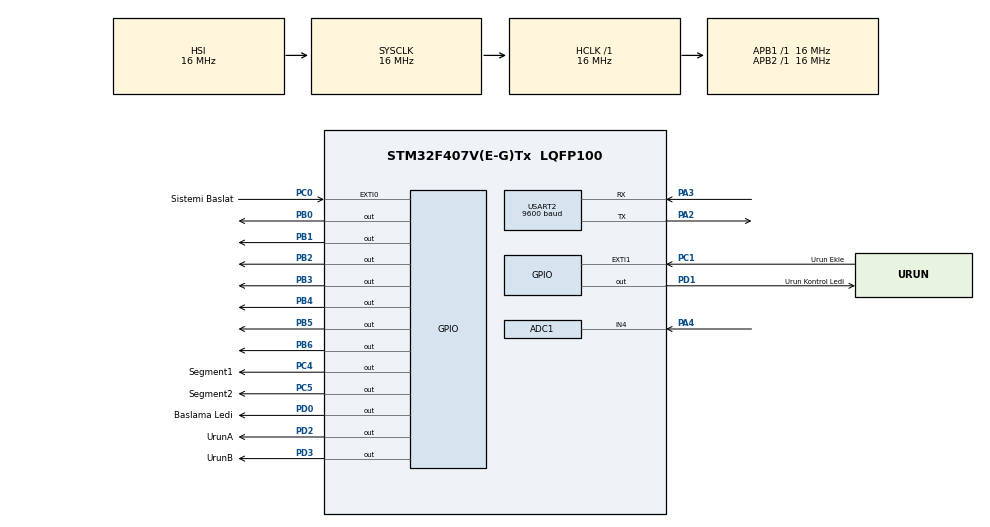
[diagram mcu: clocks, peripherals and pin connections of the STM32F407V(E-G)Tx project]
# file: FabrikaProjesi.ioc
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ADC1.Channel-0\#ChannelRegularConversion=ADC_CHANNEL_4
ADC1.NbrOfConversionFlag=1
ADC1.Rank-0\#ChannelRegularConversion=1
ADC1.Resolution=ADC_RESOLUTION_6B
ADC1.SamplingTime-0\#ChannelRegularConversion=ADC_SAMPLETIME_144CYCLES
ADC1.master=1
Mcu.Family=STM32F4
Mcu.Name=STM32F407V(E-G)Tx
Mcu.Package=LQFP100
NVIC.ADC_IRQn=true\:0\:0\:false\:false\:true\:true
NVIC.EXTI0_IRQn=true\:0\:0\:false\:false\:true\:true
NVIC.EXTI1_IRQn=true\:0\:0\:false\:false\:true\:true
NVIC.PriorityGroup=NVIC_PRIORITYGROUP_4
NVIC.TIM2_IRQn=true\:0\:0\:false\:false\:true\:true
NVIC.TIM3_IRQn=true\:0\:0\:false\:false\:true\:true
NVIC.USART2_IRQn=true\:0\:0\:false\:false\:true\:true
PA2.Mode=Asynchronous
PA2.Signal=USART2_TX
PA3.Mode=Asynchronous
PA3.Signal=USART2_RX
PA4.Signal=ADCx_IN4
PB0.Signal=GPIO_Output
PB1.Signal=GPIO_Output
PB2.Signal=GPIO_Output
PB3.Signal=GPIO_Output
PB4.Signal=GPIO_Output
PB5.Signal=GPIO_Output
PB6.Signal=GPIO_Output
PC0.GPIO_Label=Sistemi Baslat
PC0.GPIO_ModeDefaultEXTI=GPIO_MODE_IT_RISING_FALLING
PC0.Signal=GPXTI0
PC1.GPIO_Label=Urun Ekle
PC1.GPIO_ModeDefaultEXTI=GPIO_MODE_IT_RISING_FALLING
PC1.Signal=GPXTI1
PC4.GPIO_Label=Segment1
PC4.Signal=GPIO_Output
PC5.GPIO_Label=Segment2
PC5.Signal=GPIO_Output
PD0.GPIO_Label=Baslama Ledi
PD0.Signal=GPIO_Output
PD1.GPIO_Label=Urun Kontrol Ledi
PD1.Signal=GPIO_Output
PD2.GPIO_Label=UrunA
PD2.Signal=GPIO_Output
PD3.GPIO_Label=UrunB
PD3.Signal=GPIO_Output
ProjectManager.HeapSize=0x200
ProjectManager.StackSize=0x400
ProjectManager.TargetToolchain=MDK-ARM V5
RCC.AHBFreq_Value=16000000
RCC.APB1Freq_Value=16000000
RCC.APB2Freq_Value=16000000
RCC.CortexFreq_Value=16000000
RCC.HSE_VALUE=25000000
RCC.HSI_VALUE=16000000
RCC.LSE_VALUE=32768
RCC.SYSCLKFreq_VALUE=16000000
RCC.VCOOutputFreq_Value=192000000
SH.ADCx_IN4.0=ADC1_IN4,IN4
TIM2.Period=4999
TIM2.Prescaler=7999
TIM3.Period=499
TIM3.Prescaler=7999
USART2.BaudRate=9600
USART2.VirtualMode=VM_ASYNC
VP_TIM2_VS_ClockSourceINT.Mode=Internal
VP_TIM3_VS_ClockSourceINT.Mode=Internal
board=custom

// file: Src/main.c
/* USER CODE BEGIN Header */
/**
  ******************************************************************************
  * @file           : main.c
  * @brief          : Main program body
  ******************************************************************************
  ** This notice applies to any and all portions of this file
  * that are not between comment pairs USER CODE BEGIN and
  * USER CODE END. Other portions of this file, whether
  * inserted by the user or by software development tools
  * are owned by their respective copyright owners.
  *
  * COPYRIGHT(c) 2020 STMicroelectronics
  *
  * Redistribution and use in source and binary forms, with or without modification,
  * are permitted provided that the following conditions are met:
  *   1. Redistributions of source code must retain the above copyright notice,
  *      this list of conditions and the following disclaimer.
  *   2. Redistributions in binary form must reproduce the above copyright notice,
  *      this list of conditions and the following disclaimer in the documentation
  *      and/or other materials provided with the distribution.
  *   3. Neither the name of STMicroelectronics nor the names of its contributors
  *      may be used to endorse or promote products derived from this software
  *      without specific prior written permission.
  *
  * THIS SOFTWARE IS PROVIDED BY THE COPYRIGHT HOLDERS AND CONTRIBUTORS "AS IS"
  * AND ANY EXPRESS OR IMPLIED WARRANTIES, INCLUDING, BUT NOT LIMITED TO, THE
  * IMPLIED WARRANTIES OF MERCHANTABILITY AND FITNESS FOR A PARTICULAR PURPOSE ARE
  * DISCLAIMED. IN NO EVENT SHALL THE COPYRIGHT HOLDER OR CONTRIBUTORS BE LIABLE
  * FOR ANY DIRECT, INDIRECT, INCIDENTAL, SPECIAL, EXEMPLARY, OR CONSEQUENTIAL
  * DAMAGES (INCLUDING, BUT NOT LIMITED TO, PROCUREMENT OF SUBSTITUTE GOODS OR
  * SERVICES; LOSS OF USE, DATA, OR PROFITS; OR BUSINESS INTERRUPTION) HOWEVER
  * CAUSED AND ON ANY THEORY OF LIABILITY, WHETHER IN CONTRACT, STRICT LIABILITY,
  * OR TORT (INCLUDING NEGLIGENCE OR OTHERWISE) ARISING IN ANY WAY OUT OF THE USE
  * OF THIS SOFTWARE, EVEN IF ADVISED OF THE POSSIBILITY OF SUCH DAMAGE.
  *
  ******************************************************************************
  */
/* USER CODE END Header */

#include "main.h"

/* USER CODE BEGIN PD */
uint16_t adcDegeri;
/* USER CODE END PD */

ADC_HandleTypeDef hadc1;

TIM_HandleTypeDef htim2;
TIM_HandleTypeDef htim3;

UART_HandleTypeDef huart2;

/* USER CODE BEGIN PV */

int onlar=0;
int birler=0;
int urun=0;
enum calismaKontrol{Kapali=0,Acik=1};
enum calismaKontrol calisiyorMu=Kapali;
enum asimKontrol{AsimYok=0,AsimVar=1};
enum asimKontrol asimVarMi=AsimYok;

/* USER CODE END PV */

void SystemClock_Config(void);
static void MX_GPIO_Init(void);
static void MX_USART2_UART_Init(void);
static void MX_ADC1_Init(void);
static void MX_TIM2_Init(void);
static void MX_TIM3_Init(void);

/* USER CODE BEGIN 0 */

void portb_yaz(int s){
	 switch(s){
		 case 0:
			 HAL_GPIO_WritePin(GPIOB,GPIO_PIN_0|GPIO_PIN_1|GPIO_PIN_2|GPIO_PIN_3|GPIO_PIN_4|GPIO_PIN_5,GPIO_PIN_SET);
			 HAL_GPIO_WritePin(GPIOB,GPIO_PIN_6,GPIO_PIN_RESET);
		 break;

		 case 1:
				HAL_GPIO_WritePin(GPIOB,GPIO_PIN_1|GPIO_PIN_2,GPIO_PIN_SET);
				HAL_GPIO_WritePin(GPIOB,GPIO_PIN_0|GPIO_PIN_3|GPIO_PIN_4|GPIO_PIN_5|GPIO_PIN_6,GPIO_PIN_RESET);
		 break;

		 case 2:
				HAL_GPIO_WritePin(GPIOB,GPIO_PIN_0|GPIO_PIN_1|GPIO_PIN_3|GPIO_PIN_4|GPIO_PIN_6,GPIO_PIN_SET);
				HAL_GPIO_WritePin(GPIOB,GPIO_PIN_5|GPIO_PIN_2,GPIO_PIN_RESET);
		 break;

		 case 3:
			 HAL_GPIO_WritePin(GPIOB,GPIO_PIN_0|GPIO_PIN_1|GPIO_PIN_2|GPIO_PIN_3|GPIO_PIN_6,GPIO_PIN_SET);
			 HAL_GPIO_WritePin(GPIOB,GPIO_PIN_4|GPIO_PIN_5,GPIO_PIN_RESET);
		 break;

		 case 4:
		   HAL_GPIO_WritePin(GPIOB,GPIO_PIN_1|GPIO_PIN_2|GPIO_PIN_5|GPIO_PIN_6,GPIO_PIN_SET);
			 HAL_GPIO_WritePin(GPIOB,GPIO_PIN_0|GPIO_PIN_3|GPIO_PIN_4,GPIO_PIN_RESET);
		 break;

		 case 5:
			 HAL_GPIO_WritePin(GPIOB,GPIO_PIN_0|GPIO_PIN_2|GPIO_PIN_3|GPIO_PIN_5|GPIO_PIN_6,GPIO_PIN_SET);
			 HAL_GPIO_WritePin(GPIOB,GPIO_PIN_1|GPIO_PIN_4,GPIO_PIN_RESET);
		 break;

		 case 6:
			 HAL_GPIO_WritePin(GPIOB,GPIO_PIN_0|GPIO_PIN_2|GPIO_PIN_3|GPIO_PIN_4|GPIO_PIN_5|GPIO_PIN_6,GPIO_PIN_SET);
			 HAL_GPIO_WritePin(GPIOB,GPIO_PIN_1,GPIO_PIN_RESET);
		 break;

		 case 7:
			 HAL_GPIO_WritePin(GPIOB,GPIO_PIN_0|GPIO_PIN_1|GPIO_PIN_2,GPIO_PIN_SET);
			 HAL_GPIO_WritePin(GPIOB,GPIO_PIN_3|GPIO_PIN_4|GPIO_PIN_5|GPIO_PIN_6,GPIO_PIN_RESET);
		 break;

		 case 8:
			 HAL_GPIO_WritePin(GPIOB,GPIO_PIN_0|GPIO_PIN_1|GPIO_PIN_2|GPIO_PIN_3|GPIO_PIN_4|GPIO_PIN_5|GPIO_PIN_6,GPIO_PIN_SET);
		 break;

		 case 9:
			 HAL_GPIO_WritePin(GPIOB,GPIO_PIN_0|GPIO_PIN_1|GPIO_PIN_2|GPIO_PIN_3|GPIO_PIN_5|GPIO_PIN_6,GPIO_PIN_SET);
			 HAL_GPIO_WritePin(GPIOB,GPIO_PIN_4,GPIO_PIN_RESET);
		 break;
		 default:
			HAL_GPIO_WritePin(GPIOB,GPIO_PIN_0|GPIO_PIN_1|GPIO_PIN_2|GPIO_PIN_3|GPIO_PIN_4|GPIO_PIN_5,GPIO_PIN_SET);
			 HAL_GPIO_WritePin(GPIOB,GPIO_PIN_6,GPIO_PIN_RESET);
		 break;
	 }
 }

/* USER CODE END 0 */

int main(void)
{

  /* MCU Configuration--------------------------------------------------------*/

  /* Reset of all peripherals, Initializes the Flash interface and the Systick. */
  HAL_Init();

  /* Configure the system clock */
  SystemClock_Config();

  /* Initialize all configured peripherals */
  MX_GPIO_Init();
  MX_USART2_UART_Init();
  MX_ADC1_Init();
  MX_TIM2_Init();
  MX_TIM3_Init();

  /* Infinite loop */
  /* USER CODE BEGIN WHILE */
  while (1)
  {

			if(calisiyorMu == Acik){
			HAL_GPIO_WritePin(GPIOC,GPIO_PIN_5,GPIO_PIN_RESET);
			HAL_GPIO_WritePin(GPIOC,GPIO_PIN_4,GPIO_PIN_RESET);
			portb_yaz(onlar);
			HAL_GPIO_WritePin(GPIOC,GPIO_PIN_5,GPIO_PIN_SET);
			HAL_GPIO_WritePin(GPIOC,GPIO_PIN_4,GPIO_PIN_RESET);
					HAL_Delay(75);
			HAL_GPIO_WritePin(GPIOC,GPIO_PIN_5,GPIO_PIN_RESET);
			HAL_GPIO_WritePin(GPIOC,GPIO_PIN_4,GPIO_PIN_RESET);
			portb_yaz(birler);
			HAL_GPIO_WritePin(GPIOC,GPIO_PIN_5,GPIO_PIN_RESET);
			HAL_GPIO_WritePin(GPIOC,GPIO_PIN_4,GPIO_PIN_SET);
					HAL_Delay(75);
			HAL_GPIO_WritePin(GPIOC,GPIO_PIN_5,GPIO_PIN_RESET);
			HAL_GPIO_WritePin(GPIOC,GPIO_PIN_4,GPIO_PIN_RESET);

			}

	}
    /* USER CODE END WHILE */

  }

void SystemClock_Config(void)
{
  RCC_OscInitTypeDef RCC_OscInitStruct = {0};
  RCC_ClkInitTypeDef RCC_ClkInitStruct = {0};

  /**Configure the main internal regulator output voltage
  */
  __HAL_RCC_PWR_CLK_ENABLE();
  __HAL_PWR_VOLTAGESCALING_CONFIG(PWR_REGULATOR_VOLTAGE_SCALE1);
  /**Initializes the CPU, AHB and APB busses clocks
  */
  RCC_OscInitStruct.OscillatorType = RCC_OSCILLATORTYPE_HSI;
  RCC_OscInitStruct.HSIState = RCC_HSI_ON;
  RCC_OscInitStruct.HSICalibrationValue = RCC_HSICALIBRATION_DEFAULT;
  RCC_OscInitStruct.PLL.PLLState = RCC_PLL_NONE;
  if (HAL_RCC_OscConfig(&RCC_OscInitStruct) != HAL_OK)
  {
    Error_Handler();
  }
  /**Initializes the CPU, AHB and APB busses clocks
  */
  RCC_ClkInitStruct.ClockType = RCC_CLOCKTYPE_HCLK|RCC_CLOCKTYPE_SYSCLK
                              |RCC_CLOCKTYPE_PCLK1|RCC_CLOCKTYPE_PCLK2;
  RCC_ClkInitStruct.SYSCLKSource = RCC_SYSCLKSOURCE_HSI;
  RCC_ClkInitStruct.AHBCLKDivider = RCC_SYSCLK_DIV1;
  RCC_ClkInitStruct.APB1CLKDivider = RCC_HCLK_DIV1;
  RCC_ClkInitStruct.APB2CLKDivider = RCC_HCLK_DIV1;

  if (HAL_RCC_ClockConfig(&RCC_ClkInitStruct, FLASH_LATENCY_0) != HAL_OK)
  {
    Error_Handler();
  }
}

static void MX_ADC1_Init(void)
{

  ADC_ChannelConfTypeDef sConfig = {0};

  /**Configure the global features of the ADC (Clock, Resolution, Data Alignment and number of conversion)
  */
  hadc1.Instance = ADC1;
  hadc1.Init.ClockPrescaler = ADC_CLOCK_SYNC_PCLK_DIV2;
  hadc1.Init.Resolution = ADC_RESOLUTION_6B;
  hadc1.Init.ScanConvMode = DISABLE;
  hadc1.Init.ContinuousConvMode = DISABLE;
  hadc1.Init.DiscontinuousConvMode = DISABLE;
  hadc1.Init.ExternalTrigConvEdge = ADC_EXTERNALTRIGCONVEDGE_NONE;
  hadc1.Init.ExternalTrigConv = ADC_SOFTWARE_START;
  hadc1.Init.DataAlign = ADC_DATAALIGN_RIGHT;
  hadc1.Init.NbrOfConversion = 1;
  hadc1.Init.DMAContinuousRequests = DISABLE;
  hadc1.Init.EOCSelection = ADC_EOC_SINGLE_CONV;
  if (HAL_ADC_Init(&hadc1) != HAL_OK)
  {
    Error_Handler();
  }
  /**Configure for the selected ADC regular channel its corresponding rank in the sequencer and its sample time.
  */
  sConfig.Channel = ADC_CHANNEL_4;
  sConfig.Rank = 1;
  sConfig.SamplingTime = ADC_SAMPLETIME_144CYCLES;
  if (HAL_ADC_ConfigChannel(&hadc1, &sConfig) != HAL_OK)
  {
    Error_Handler();
  }

}

static void MX_TIM2_Init(void)
{

  TIM_ClockConfigTypeDef sClockSourceConfig = {0};
  TIM_MasterConfigTypeDef sMasterConfig = {0};

  htim2.Instance = TIM2;
  htim2.Init.Prescaler = 7999;
  htim2.Init.CounterMode = TIM_COUNTERMODE_UP;
  htim2.Init.Period = 4999;
  htim2.Init.ClockDivision = TIM_CLOCKDIVISION_DIV1;
  if (HAL_TIM_Base_Init(&htim2) != HAL_OK)
  {
    Error_Handler();
  }
  sClockSourceConfig.ClockSource = TIM_CLOCKSOURCE_INTERNAL;
  if (HAL_TIM_ConfigClockSource(&htim2, &sClockSourceConfig) != HAL_OK)
  {
    Error_Handler();
  }
  sMasterConfig.MasterOutputTrigger = TIM_TRGO_RESET;
  sMasterConfig.MasterSlaveMode = TIM_MASTERSLAVEMODE_DISABLE;
  if (HAL_TIMEx_MasterConfigSynchronization(&htim2, &sMasterConfig) != HAL_OK)
  {
    Error_Handler();
  }

}

static void MX_TIM3_Init(void)
{

  TIM_ClockConfigTypeDef sClockSourceConfig = {0};
  TIM_MasterConfigTypeDef sMasterConfig = {0};

  htim3.Instance = TIM3;
  htim3.Init.Prescaler = 7999;
  htim3.Init.CounterMode = TIM_COUNTERMODE_UP;
  htim3.Init.Period = 499;
  htim3.Init.ClockDivision = TIM_CLOCKDIVISION_DIV1;
  if (HAL_TIM_Base_Init(&htim3) != HAL_OK)
  {
    Error_Handler();
  }
  sClockSourceConfig.ClockSource = TIM_CLOCKSOURCE_INTERNAL;
  if (HAL_TIM_ConfigClockSource(&htim3, &sClockSourceConfig) != HAL_OK)
  {
    Error_Handler();
  }
  sMasterConfig.MasterOutputTrigger = TIM_TRGO_RESET;
  sMasterConfig.MasterSlaveMode = TIM_MASTERSLAVEMODE_DISABLE;
  if (HAL_TIMEx_MasterConfigSynchronization(&htim3, &sMasterConfig) != HAL_OK)
  {
    Error_Handler();
  }

}

static void MX_USART2_UART_Init(void)
{

  huart2.Instance = USART2;
  huart2.Init.BaudRate = 9600;
  huart2.Init.WordLength = UART_WORDLENGTH_8B;
  huart2.Init.StopBits = UART_STOPBITS_1;
  huart2.Init.Parity = UART_PARITY_NONE;
  huart2.Init.Mode = UART_MODE_TX_RX;
  huart2.Init.HwFlowCtl = UART_HWCONTROL_NONE;
  huart2.Init.OverSampling = UART_OVERSAMPLING_16;
  if (HAL_UART_Init(&huart2) != HAL_OK)
  {
    Error_Handler();
  }

}

static void MX_GPIO_Init(void)
{
  GPIO_InitTypeDef GPIO_InitStruct = {0};

  /* GPIO Ports Clock Enable */
  __HAL_RCC_GPIOC_CLK_ENABLE();
  __HAL_RCC_GPIOA_CLK_ENABLE();
  __HAL_RCC_GPIOB_CLK_ENABLE();
  __HAL_RCC_GPIOD_CLK_ENABLE();

  /*Configure GPIO pin Output Level */
  HAL_GPIO_WritePin(GPIOC, Segment1_Pin|Segment2_Pin, GPIO_PIN_RESET);

  /*Configure GPIO pin Output Level */
  HAL_GPIO_WritePin(GPIOB, GPIO_PIN_0|GPIO_PIN_1|GPIO_PIN_2|GPIO_PIN_3
                          |GPIO_PIN_4|GPIO_PIN_5|GPIO_PIN_6, GPIO_PIN_RESET);

  /*Configure GPIO pin Output Level */
  HAL_GPIO_WritePin(GPIOD, Baslama_Ledi_Pin|Urun_Kontrol_Ledi_Pin|UrunA_Pin|UrunB_Pin, GPIO_PIN_RESET);

  /*Configure GPIO pins : Sistemi_Baslat_Pin Urun_Ekle_Pin */
  GPIO_InitStruct.Pin = Sistemi_Baslat_Pin|Urun_Ekle_Pin;
  GPIO_InitStruct.Mode = GPIO_MODE_IT_RISING_FALLING;
  GPIO_InitStruct.Pull = GPIO_NOPULL;
  HAL_GPIO_Init(GPIOC, &GPIO_InitStruct);

  /*Configure GPIO pins : Segment1_Pin Segment2_Pin */
  GPIO_InitStruct.Pin = Segment1_Pin|Segment2_Pin;
  GPIO_InitStruct.Mode = GPIO_MODE_OUTPUT_PP;
  GPIO_InitStruct.Pull = GPIO_NOPULL;
  GPIO_InitStruct.Speed = GPIO_SPEED_FREQ_LOW;
  HAL_GPIO_Init(GPIOC, &GPIO_InitStruct);

  /*Configure GPIO pins : PB0 PB1 PB2 PB3
                           PB4 PB5 PB6 */
  GPIO_InitStruct.Pin = GPIO_PIN_0|GPIO_PIN_1|GPIO_PIN_2|GPIO_PIN_3
                          |GPIO_PIN_4|GPIO_PIN_5|GPIO_PIN_6;
  GPIO_InitStruct.Mode = GPIO_MODE_OUTPUT_PP;
  GPIO_InitStruct.Pull = GPIO_NOPULL;
  GPIO_InitStruct.Speed = GPIO_SPEED_FREQ_LOW;
  HAL_GPIO_Init(GPIOB, &GPIO_InitStruct);

  /*Configure GPIO pins : Baslama_Ledi_Pin Urun_Kontrol_Ledi_Pin UrunA_Pin UrunB_Pin */
  GPIO_InitStruct.Pin = Baslama_Ledi_Pin|Urun_Kontrol_Ledi_Pin|UrunA_Pin|UrunB_Pin;
  GPIO_InitStruct.Mode = GPIO_MODE_OUTPUT_PP;
  GPIO_InitStruct.Pull = GPIO_NOPULL;
  GPIO_InitStruct.Speed = GPIO_SPEED_FREQ_LOW;
  HAL_GPIO_Init(GPIOD, &GPIO_InitStruct);

  /* EXTI interrupt init*/
  HAL_NVIC_SetPriority(EXTI0_IRQn, 0, 0);
  HAL_NVIC_EnableIRQ(EXTI0_IRQn);

  HAL_NVIC_SetPriority(EXTI1_IRQn, 0, 0);
  HAL_NVIC_EnableIRQ(EXTI1_IRQn);

}

void Error_Handler(void)
{
}

/************************ (C) COPYRIGHT STMicroelectronics *****END OF FILE****/
